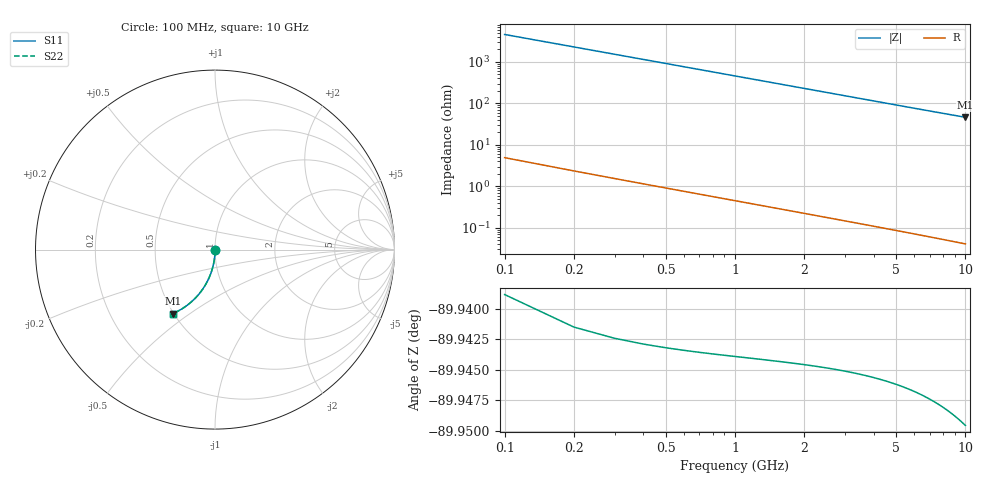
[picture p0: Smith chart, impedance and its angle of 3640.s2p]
# Hz S RI R 50.00
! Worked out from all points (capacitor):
!   100 points, 100 MHz to 10 GHz, reference 50 ohm
!   read as one part in shunt: C = 346 fF near 100 MHz
!   lowest |Z| = 46.3 ohm at 10 GHz (marker M1)
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1e8  0.000137 -0.00475  0.9998 -0.00611  0.9998 -0.00611  0.000137 -0.00475
2e8  4.55e-05 -0.00949  0.9997 -0.0122  0.9997 -0.0122  4.55e-05 -0.00949
3e8  -0.000104 -0.0142  0.9995 -0.0183  0.9995 -0.0183  -0.000104 -0.0142
4e8  -0.000312 -0.019  0.9993 -0.0244  0.9993 -0.0244  -0.000312 -0.019
5e8  -0.000577 -0.0237  0.999 -0.0305  0.999 -0.0305  -0.000577 -0.0237
6e8  -0.000901 -0.0285  0.9987 -0.0366  0.9987 -0.0366  -0.000901 -0.0285
7e8  -0.00128 -0.0332  0.9983 -0.0427  0.9983 -0.0427  -0.00128 -0.0332
8e8  -0.00172 -0.0379  0.9979 -0.0488  0.9979 -0.0488  -0.00172 -0.0379
9e8  -0.00222 -0.0426  0.9974 -0.0549  0.9974 -0.0549  -0.00222 -0.0426
1.1e9  -0.00339 -0.0521  0.9961 -0.0671  0.9961 -0.0671  -0.00339 -0.0521
1.4e9  -0.00557 -0.0661  0.9939 -0.0853  0.9939 -0.0853  -0.00557 -0.0661
1.8e9  -0.00928 -0.0848  0.9901 -0.1094  0.9901 -0.1094  -0.00928 -0.0848
2.1e9  -0.0126 -0.0986  0.9866 -0.1273  0.9866 -0.1273  -0.0126 -0.0986
2.5e9  -0.0179 -0.1167  0.9811 -0.1509  0.9811 -0.1509  -0.0179 -0.1167
2.9e9  -0.024 -0.1346  0.9748 -0.1743  0.9748 -0.1743  -0.024 -0.1346
3.4e9  -0.0329 -0.1564  0.9657 -0.203  0.9657 -0.203  -0.0329 -0.1564
4.2e9  -0.0495 -0.1898  0.9484 -0.2475  0.9484 -0.2475  -0.0495 -0.1898
5.1e9  -0.0718 -0.2248  0.9254 -0.2951  0.9254 -0.2951  -0.0718 -0.2248
5.9e9  -0.0942 -0.2534  0.9021 -0.3349  0.9021 -0.3349  -0.0942 -0.2534
6.7e9  -0.1188 -0.2793  0.8765 -0.3722  0.8765 -0.3722  -0.1188 -0.2793
8.4e9  -0.1763 -0.325  0.8163 -0.4423  0.8163 -0.4423  -0.1763 -0.325
1e10  -0.2345 -0.356  0.7551 -0.4967  0.7551 -0.4967  -0.2345 -0.356
